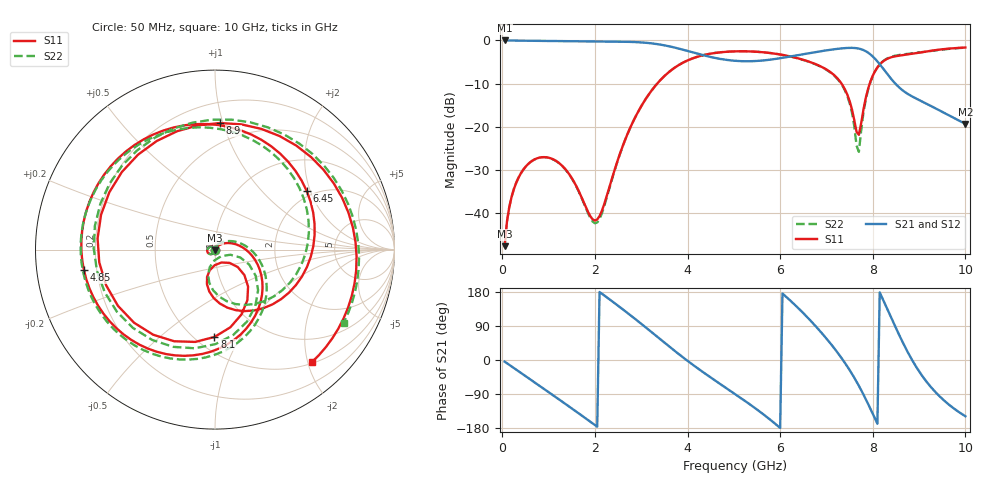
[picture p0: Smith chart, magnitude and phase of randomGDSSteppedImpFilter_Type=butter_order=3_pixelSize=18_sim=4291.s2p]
! freq	dB(S11)	phase(S11)	dB(S12)	phase(S12)
!  dB(S21)	phase(S21)	dB(S22)	phase(S22)
!S-par simulation data
#  GHz  S  DB  R 50
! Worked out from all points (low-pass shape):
!   200 points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, 50 MHz to 10 GHz, reference 50 ohm
!   highest |S21| = -0.01 dB at 50 MHz (marker M1); lowest = -19.3 dB at 10 GHz (marker M2)
!   |S21| within 3 dB of the highest: start of sweep to 4.191 GHz; 6.588 GHz to 7.92 GHz (1.332 GHz wide, 18.4 % of centre)
!   lowest |S11| = -47.7 dB at 50 MHz (marker M3), VSWR 1.01, Z = 50 - j0.411 ohm
!   |S11| at or under -10 dB: start of sweep to 3.345 GHz; 7.324 GHz to 7.935 GHz (611.1 MHz wide, 8.01 % of centre)
!   |S22| runs from -47.7 to -1.7 dB; largest |S21 - S12| = 0
!   S11 on the Smith chart (normalised r, x): 50 MHz: 1.00, -0.01; 4.85 GHz: 0.15, -0.08; 6.45 GHz: 1.82, +1.89; 8.1 GHz: 0.61, -0.78; 8.9 GHz: 0.35, +0.98; 10 GHz: 0.52, -2.08
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0.05  -47.69 -83.9  -0.01 -4.3  -0.01 -4.3  -47.69 -84.0
0.25  -34.46 -109.3  -0.04 -21.3  -0.04 -21.3  -34.46 -109.2
0.7  -27.56 -149.8  -0.09 -59.3  -0.09 -59.3  -27.57 -149.4
1.75  -37.29 111.6  -0.18 -149.6  -0.18 -149.6  -37.43 119.2
2.1  -40.73 66.4  -0.22 179.5  -0.22 179.5  -41.41 89.2
2.75  -20.54 22.5  -0.33 119.7  -0.33 119.7  -20.56 30.6
3.4  -9.34 -39.1  -0.94 55.9  -0.94 55.9  -9.34 -32.7
4.15  -4.01 -110.7  -2.89 -15.8  -2.89 -15.8  -4.00 -103.7
4.85  -2.62 -171.1  -4.52 -75.2  -4.52 -75.2  -2.61 -162.1
5.05  -2.53 172.0  -4.74 -91.8  -4.74 -91.8  -2.52 -178.3
5.8  -2.94 103.7  -4.44 -159.0  -4.44 -159.0  -2.94 117.0
6.45  -4.34 32.7  -3.27 129.8  -3.27 129.8  -4.36 48.3
6.7  -5.22 2.1  -2.80 98.1  -2.80 98.1  -5.26 17.3
7.05  -7.08 -43.6  -2.22 49.1  -2.22 49.1  -7.16 -31.0
7.4  -11.37 -91.6  -1.78 -7.9  -1.78 -7.9  -11.61 -85.0
7.7  -21.88 -63.2  -1.90 -68.1  -1.90 -68.1  -25.83 -44.9
8.1  -6.25 -90.3  -4.87 -168.3  -4.87 -168.3  -6.27 -77.9
8.35  -4.08 -149.9  -8.28 124.5  -8.28 124.5  -3.99 -136.3
8.6  -3.48 151.5  -11.18 58.5  -11.18 58.5  -3.32 168.7
8.9  -3.03 87.7  -13.27 -10.6  -13.27 -10.6  -2.94 109.1
9.4  -2.18 9.1  -16.00 -90.6  -16.00 -90.6  -2.24 31.3
10  -1.64 -49.2  -19.35 -148.5  -19.35 -148.5  -1.67 -29.7
